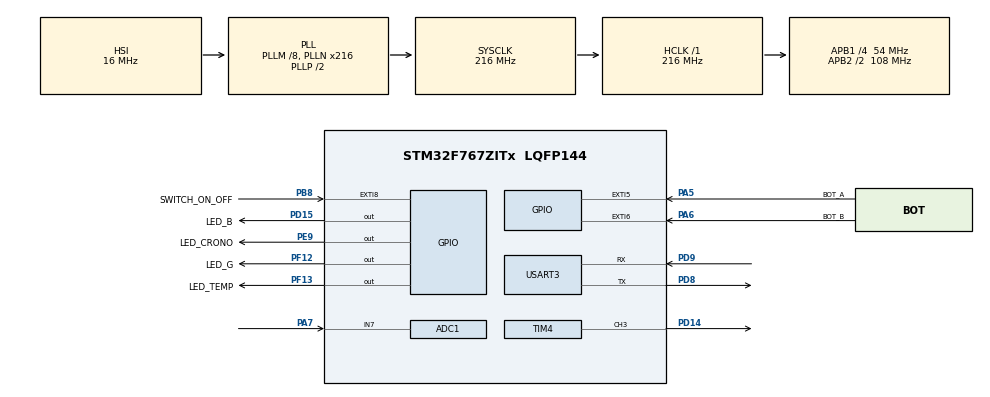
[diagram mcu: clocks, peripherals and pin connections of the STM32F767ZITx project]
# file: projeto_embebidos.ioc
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ADC1.Channel-0\#ChannelRegularConversion=ADC_CHANNEL_7
ADC1.EOCSelection=ADC_EOC_SEQ_CONV
ADC1.NbrOfConversionFlag=1
ADC1.Rank-0\#ChannelRegularConversion=1
ADC1.SamplingTime-0\#ChannelRegularConversion=ADC_SAMPLETIME_3CYCLES
ADC1.master=1
Dma.Request0=USART3_TX
Dma.USART3_TX.0.Direction=DMA_MEMORY_TO_PERIPH
Dma.USART3_TX.0.FIFOMode=DMA_FIFOMODE_DISABLE
Dma.USART3_TX.0.Instance=DMA1_Stream3
Dma.USART3_TX.0.MemDataAlignment=DMA_MDATAALIGN_BYTE
Dma.USART3_TX.0.MemInc=DMA_MINC_ENABLE
Dma.USART3_TX.0.Mode=DMA_NORMAL
Dma.USART3_TX.0.PeriphDataAlignment=DMA_PDATAALIGN_BYTE
Dma.USART3_TX.0.PeriphInc=DMA_PINC_DISABLE
Dma.USART3_TX.0.Priority=DMA_PRIORITY_LOW
Mcu.Family=STM32F7
Mcu.Name=STM32F767ZITx
Mcu.Package=LQFP144
NVIC.DMA1_Stream3_IRQn=true\:0\:0\:false\:false\:true\:false\:true\:true
NVIC.EXTI9_5_IRQn=true\:0\:0\:false\:false\:true\:true\:true\:true
NVIC.PriorityGroup=NVIC_PRIORITYGROUP_4
NVIC.TIM2_IRQn=true\:0\:0\:false\:false\:true\:true\:true\:true
NVIC.TIM3_IRQn=true\:0\:0\:false\:false\:true\:true\:true\:true
NVIC.TIM4_IRQn=true\:0\:0\:false\:false\:true\:true\:true\:true
NVIC.TIM5_IRQn=true\:0\:0\:false\:false\:true\:true\:true\:true
NVIC.TIM7_IRQn=true\:0\:0\:false\:false\:true\:true\:true\:true
NVIC.USART3_IRQn=true\:0\:0\:false\:false\:true\:true\:true\:true
PA5.GPIO_Label=BOT_A
PA5.GPIO_PuPd=GPIO_PULLDOWN
PA5.Signal=GPXTI5
PA6.GPIO_Label=BOT_B
PA6.GPIO_PuPd=GPIO_PULLDOWN
PA6.Signal=GPXTI6
PA7.Signal=ADCx_IN7
PB8.GPIO_Label=SWITCH_ON_OFF
PB8.GPIO_PuPd=GPIO_PULLDOWN
PB8.Signal=GPXTI8
PD14.Signal=S_TIM4_CH3
PD15.GPIO_Label=LED_B
PD15.Signal=GPIO_Output
PD8.Mode=Asynchronous
PD8.Signal=USART3_TX
PD9.Mode=Asynchronous
PD9.Signal=USART3_RX
PE9.GPIO_Label=LED_CRONO
PE9.Signal=GPIO_Output
PF12.GPIO_Label=LED_G
PF12.Signal=GPIO_Output
PF13.GPIO_Label=LED_TEMP
PF13.Signal=GPIO_Output
ProjectManager.HeapSize=0x200
ProjectManager.StackSize=0x400
ProjectManager.TargetToolchain=STM32CubeIDE
RCC.48MHZClocksFreq_Value=24000000
RCC.AHBFreq_Value=216000000
RCC.APB1CLKDivider=RCC_HCLK_DIV4
RCC.APB1Freq_Value=54000000
RCC.APB1TimFreq_Value=108000000
RCC.APB2CLKDivider=RCC_HCLK_DIV2
RCC.APB2Freq_Value=108000000
RCC.APB2TimFreq_Value=216000000
RCC.CortexFreq_Value=216000000
RCC.HCLKFreq_Value=216000000
RCC.HSE_VALUE=8000000
RCC.HSI_VALUE=16000000
RCC.LSE_VALUE=32768
RCC.PLLM=8
RCC.PLLMUL=RCC_PLL_MUL9
RCC.PLLN=216
RCC.PRESCALERUSB=RCC_USBCLKSOURCE_PLL_DIV1_5
RCC.SYSCLKFreq_VALUE=216000000
RCC.SYSCLKSource=RCC_SYSCLKSOURCE_PLLCLK
RCC.SYSCLKSourceVirtual=RCC_SYSCLKSOURCE_PLLCLK
RCC.USBFreq_Value=216000000
RCC.VCOOutputFreq_Value=432000000
SH.ADCx_IN7.0=ADC1_IN7,IN7
SH.S_TIM4_CH3.0=TIM4_CH3,PWM Generation3 CH3
TIM2.Period=59999
TIM2.Prescaler=179
TIM3.Period=62499
TIM3.Prescaler=863
TIM4.Channel-PWM\ Generation3\ CH3=TIM_CHANNEL_3
TIM4.Period=65000
TIM5.Period=62499
TIM5.Prescaler=863
TIM7.Period=59999
TIM7.Prescaler=179
USART3.VirtualMode-Asynchronous=VM_ASYNC
VP_TIM2_VS_ClockSourceINT.Mode=Internal
VP_TIM3_VS_ClockSourceINT.Mode=Internal
VP_TIM4_VS_ClockSourceINT.Mode=Internal
VP_TIM5_VS_ClockSourceINT.Mode=Internal
VP_TIM7_VS_ClockSourceINT.Mode=Enable_Timer
board=NUCLEO-F767ZI

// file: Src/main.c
/* USER CODE BEGIN Header */
/**
  ******************************************************************************
  * @file           : main.c
  * @brief          : Main program body
  ******************************************************************************
  * @attention
  *
  * Copyright (c) 2023 STMicroelectronics.
  * All rights reserved.
  *
  * This software is licensed under terms that can be found in the LICENSE file
  * in the root directory of this software component.
  * If no LICENSE file comes with this software, it is provided AS-IS.
  *
  ******************************************************************************
  */
/* USER CODE END Header */
#include "main.h"
#include "adc.h"
#include "dma.h"
#include "tim.h"
#include "usart.h"
#include "gpio.h"

/* USER CODE BEGIN Includes */
#include <stdio.h>
#include <stdlib.h>
#include <stdbool.h>
#include "cronometro.h"
#include "temporizador.h"
/* USER CODE END Includes */

/* USER CODE BEGIN PD */
#define DEBOUNCE_DELAY 100 // Atraso em milissegundos
/* USER CODE END PD */

/* USER CODE BEGIN PV */
uint8_t byte_buffer_laps[25];
uint32_t lastDebounceTime = 0, adc_value = 0, decimos_segundo = 0,segundos = 0, dim_value = 60000, decimos_segundo_temp = 0,decimos_segundo_temp_pretendidos = 0;
int ds = 0, minutes = 0, seconds = 0, remaining_ds = 0, voltas_counter = 0,cursor_volta = 8,voltas_array[256];
bool flag_on = false, flag_temp_mode = false, flag_tx = false, flag_crescente = false, flag_first_cycle = true, flag_tempo_concluido = false, flag_send_laps = false;
TIM_OC_InitTypeDef sConfigOC = {0};
/* USER CODE END PV */

void SystemClock_Config(void);
/* USER CODE BEGIN PFP */
int __io_putchar(int ch)
{
    HAL_UART_Transmit(&huart3, (uint8_t *)&ch, 1, HAL_MAX_DELAY);
    return ch;
}

int __io_getchar(void)
{
    uint8_t ch=0;
    __HAL_UART_CLEAR_OREFLAG(&huart3);
    HAL_UART_Receive(&huart3, (uint8_t *)&ch, 1, HAL_MAX_DELAY);
    HAL_UART_Transmit(&huart3, (uint8_t *)&ch, 1, HAL_MAX_DELAY);
    return ch;
}
/* USER CODE END PFP */

/* USER CODE BEGIN 0 */

void HAL_GPIO_EXTI_Callback(uint16_t GPIO_Pin){

	if(GPIO_Pin == BOT_A_Pin){			//START + STOP
		uint32_t currentMillis = HAL_GetTick();
		if (currentMillis - lastDebounceTime >= DEBOUNCE_DELAY){

		if(!flag_temp_mode){			//MODO CRONOMETRO
			if(!flag_on){
				start_cronometro();
			} else {
				cursor_volta = 8;
				stop_cronometro();
				flag_send_laps = true;
			}
		} else {						//MODO TEMPORIZADOR
			if(!flag_on){		        //temporizador desligado
				if(flag_first_cycle){
					if(flag_crescente){
						decimos_segundo_temp = 0;
					}
					else{
						decimos_segundo_temp = 0;
						decimos_segundo_temp = decimos_segundo_temp_pretendidos;

					}
					HAL_ADC_Stop(&hadc1);
				}
				flag_first_cycle = false;
				flag_tempo_concluido = false;
				start_timer();
			} else {
				stop_timer();
			}
		}

		 lastDebounceTime = currentMillis;
		}
	}
	else if(GPIO_Pin == BOT_B_Pin){		//LAP + RESET
		uint32_t currentMillis = HAL_GetTick();
		if (currentMillis - lastDebounceTime >= DEBOUNCE_DELAY){

		if(!flag_temp_mode){			//MODO CRONOMETRO
			if(flag_on){
				voltas_counter++;
				lap_detected();
			} else {
				reset_cronometro();
				print_tempo();
			}
		} else {						//MODO TEMPORIZADOR
			if(!flag_on){
				if(!flag_first_cycle || flag_tempo_concluido){
					flag_tempo_concluido = false;
					reset_timer();
					flag_first_cycle = true;
				} else {
					flag_crescente = !flag_crescente;
				}
			}
		}

		lastDebounceTime = currentMillis;
	}
}
	else if(GPIO_Pin == SWITCH_ON_OFF_Pin){
		uint32_t currentMillis = HAL_GetTick();
		if (currentMillis - lastDebounceTime >= DEBOUNCE_DELAY){

		if(!flag_on){
			flag_temp_mode = !flag_temp_mode;
				if(!flag_temp_mode){
					print_tempo();
				}
				if(!flag_first_cycle && flag_temp_mode){
					print_temp();
				}
			}

		lastDebounceTime = currentMillis;
		}
	}
}

void HAL_TIM_PeriodElapsedCallback(TIM_HandleTypeDef *htim){

	if(htim == &htim2){
		decimos_segundo++;

		  if(flag_on){
			  print_tempo();
		  }

	} else if(htim == &htim3){
		//desligar o LED apos 1/2s
		HAL_GPIO_WritePin(LED_B_GPIO_Port, LED_B_Pin, GPIO_PIN_RESET);
		HAL_TIM_Base_Stop(&htim3);

	} else if(htim == &htim5){
		dim_value -= 10000;

		 if(dim_value <= 0) {
			  dim_value = 60000;
		  }

		 else if(flag_on){
			 //config DIM Red LED
				HAL_TIM_PWM_Stop(&htim4, TIM_CHANNEL_3);

				sConfigOC.OCMode = TIM_OCMODE_PWM1;
				sConfigOC.Pulse = dim_value;
				sConfigOC.OCPolarity = TIM_OCPOLARITY_HIGH;
				sConfigOC.OCFastMode = TIM_OCFAST_DISABLE;

				HAL_TIM_PWM_ConfigChannel(&htim4, &sConfigOC, TIM_CHANNEL_3);
				HAL_TIM_PWM_Start(&htim4,TIM_CHANNEL_3);
		 }
	} else if(htim == &htim7){
		if(flag_crescente){					///MODO CRESCENTE

			decimos_segundo_temp++;

			if(flag_on){
				print_temp();
			}
			if(decimos_segundo_temp == decimos_segundo_temp_pretendidos){
				decimos_segundo_temp = 0;
				flag_tempo_concluido = true;
				stop_timer();
				printf("TEMPO ATINGIDO\r\n");
			}

		} else {							//MODO DECRESCENTE

			decimos_segundo_temp--;

			if(flag_on){
				print_temp();
			}
			if(decimos_segundo_temp == 0){
				decimos_segundo_temp = decimos_segundo_temp_pretendidos;
				flag_tempo_concluido = true;
				stop_timer();
				printf("TEMPO ATINGIDO\r\n");
			}

		}
	}
}

void HAL_UART_TxCpltCallback(UART_HandleTypeDef *huart){
    //usar uma flag na interrupt

    if(huart == &huart3){
        flag_tx = true;
    }
}

void reset_LEDS(){
	HAL_GPIO_WritePin(LED_G_GPIO_Port, LED_G_Pin, GPIO_PIN_RESET);    //Green LED off
	HAL_GPIO_WritePin(LED_B_GPIO_Port, LED_B_Pin, GPIO_PIN_RESET);    //Blue LED off
}
/* USER CODE END 0 */

int main(void)
{

  /* MCU Configuration--------------------------------------------------------*/

  /* Reset of all peripherals, Initializes the Flash interface and the Systick. */
  HAL_Init();

  /* Configure the system clock */
  SystemClock_Config();

  /* Initialize all configured peripherals */
  MX_GPIO_Init();
  MX_DMA_Init();
  MX_USART3_UART_Init();
  MX_TIM3_Init();
  MX_TIM4_Init();
  MX_TIM5_Init();
  MX_ADC1_Init();
  MX_TIM2_Init();
  MX_TIM7_Init();
  /* USER CODE BEGIN 2 */
  reset_cronometro();
  reset_timer();
  print_tempo();

  /* USER CODE END 2 */

  /* Infinite loop */
  /* USER CODE BEGIN WHILE */
  reset_cronometro();
  reset_timer();
  while (1)
  {
    /* USER CODE END WHILE */

    /* USER CODE BEGIN 3 */

      if(flag_temp_mode){			//MODO TEMPORIZADOR

          HAL_GPIO_WritePin(LED_TEMP_GPIO_Port, LED_TEMP_Pin, GPIO_PIN_SET);    //LED TEMPORIZADOR ON
          HAL_GPIO_WritePin(LED_CRONO_GPIO_Port, LED_CRONO_Pin, GPIO_PIN_RESET);//LED CRONOMETRO OFF

          if(flag_first_cycle && !flag_on){
        	  reset_LEDS();
        	  HAL_TIM_PWM_Stop(&htim4, TIM_CHANNEL_3);						//Red LED off
        	  HAL_GPIO_WritePin(LED_G_GPIO_Port, LED_G_Pin, GPIO_PIN_SET);        //Green LED on -> desligado
          }
          if(flag_on){
        	  reset_LEDS();
        	  HAL_TIM_Base_Start_IT(&htim5);									//Red LED Dim -> contar
          }
          if(!flag_first_cycle && !flag_on){
        	  reset_LEDS();
        	  HAL_TIM_PWM_Stop(&htim4, TIM_CHANNEL_3);						//Red LED off
        	  HAL_GPIO_WritePin(LED_B_GPIO_Port, LED_B_Pin, GPIO_PIN_SET);    //Blue LED on -> pause
          }

          while(flag_first_cycle && flag_temp_mode){					//LEITURA ADC PARA DEFINIR TEMPORIZADOR
        	  HAL_ADC_Start(&hadc1);
        	  adc_value = HAL_ADC_GetValue(&hadc1);
        	  HAL_ADC_Stop(&hadc1);
        	  print_set_time();
        	  HAL_Delay(50);
          }

      } else {						//MODO CRONOMETRO

          HAL_GPIO_WritePin(LED_TEMP_GPIO_Port, LED_TEMP_Pin, GPIO_PIN_RESET);    //LED TEMPORIZADOR OFF
          HAL_GPIO_WritePin(LED_CRONO_GPIO_Port, LED_CRONO_Pin, GPIO_PIN_SET);    //LED CRONOMETRO ON

          if(flag_on){
              HAL_GPIO_WritePin(LED_G_GPIO_Port, LED_G_Pin, GPIO_PIN_RESET);    //Green LED off -> contar
              HAL_TIM_Base_Start_IT(&htim5);									//Red LED Dim -> contar

          } else {
              HAL_TIM_PWM_Stop(&htim4, TIM_CHANNEL_3);
              HAL_GPIO_WritePin(LED_G_GPIO_Port, LED_G_Pin, GPIO_PIN_SET);        //Green LED on -> desligado
              HAL_GPIO_WritePin(LED_B_GPIO_Port, LED_B_Pin, GPIO_PIN_RESET);    //Blue LED off
          }

          if(flag_send_laps){
        	  print_lap();
              flag_send_laps = false;

          }
      }
  }
  /* USER CODE END 3 */
}

void SystemClock_Config(void)
{
  RCC_OscInitTypeDef RCC_OscInitStruct = {0};
  RCC_ClkInitTypeDef RCC_ClkInitStruct = {0};

  /** Configure the main internal regulator output voltage
  */
  __HAL_RCC_PWR_CLK_ENABLE();
  __HAL_PWR_VOLTAGESCALING_CONFIG(PWR_REGULATOR_VOLTAGE_SCALE1);

  /** Initializes the RCC Oscillators according to the specified parameters
  * in the RCC_OscInitTypeDef structure.
  */
  RCC_OscInitStruct.OscillatorType = RCC_OSCILLATORTYPE_HSI;
  RCC_OscInitStruct.HSIState = RCC_HSI_ON;
  RCC_OscInitStruct.HSICalibrationValue = RCC_HSICALIBRATION_DEFAULT;
  RCC_OscInitStruct.PLL.PLLState = RCC_PLL_ON;
  RCC_OscInitStruct.PLL.PLLSource = RCC_PLLSOURCE_HSI;
  RCC_OscInitStruct.PLL.PLLM = 8;
  RCC_OscInitStruct.PLL.PLLN = 216;
  RCC_OscInitStruct.PLL.PLLP = RCC_PLLP_DIV2;
  RCC_OscInitStruct.PLL.PLLQ = 2;
  RCC_OscInitStruct.PLL.PLLR = 2;
  if (HAL_RCC_OscConfig(&RCC_OscInitStruct) != HAL_OK)
  {
    Error_Handler();
  }

  /** Activate the Over-Drive mode
  */
  if (HAL_PWREx_EnableOverDrive() != HAL_OK)
  {
    Error_Handler();
  }

  /** Initializes the CPU, AHB and APB buses clocks
  */
  RCC_ClkInitStruct.ClockType = RCC_CLOCKTYPE_HCLK|RCC_CLOCKTYPE_SYSCLK
                              |RCC_CLOCKTYPE_PCLK1|RCC_CLOCKTYPE_PCLK2;
  RCC_ClkInitStruct.SYSCLKSource = RCC_SYSCLKSOURCE_PLLCLK;
  RCC_ClkInitStruct.AHBCLKDivider = RCC_SYSCLK_DIV1;
  RCC_ClkInitStruct.APB1CLKDivider = RCC_HCLK_DIV4;
  RCC_ClkInitStruct.APB2CLKDivider = RCC_HCLK_DIV2;

  if (HAL_RCC_ClockConfig(&RCC_ClkInitStruct, FLASH_LATENCY_7) != HAL_OK)
  {
    Error_Handler();
  }
}

void Error_Handler(void)
{
  __disable_irq();
  while (1)
  {
  }
}
